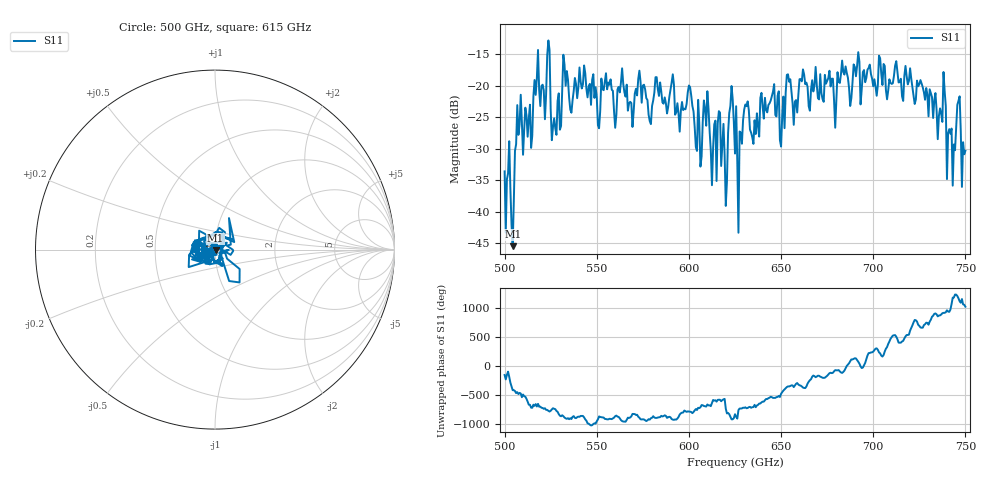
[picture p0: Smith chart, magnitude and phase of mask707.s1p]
!Created with skrf (http://scikit-rf.org).
# GHz S MA R 50.0
!freq magS11 angS11
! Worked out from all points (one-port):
!   401 points, 500 GHz to 750 GHz, reference 50 ohm
!   lowest |S11| = -45.5 dB at 504.4 GHz (marker M1), VSWR 1.01, Z = 50.3 - j0.452 ohm
!   |S11| at or under -10 dB: start of sweep to end of sweep
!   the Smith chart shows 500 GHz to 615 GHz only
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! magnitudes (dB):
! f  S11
! 500 GHz  -33.6
! 504.4 GHz  -45.5
! 507.5 GHz  -27.8
! 513.8 GHz  -23.0
! 516.9 GHz  -21.5
! 523.8 GHz  -12.8
! 526.9 GHz  -25.2
! 531.2 GHz  -20.9
! 562.5 GHz  -21.1
! 579.4 GHz  -26.1
! 590.6 GHz  -19.5
! 593.8 GHz  -22.8
! 600.6 GHz  -20.2
! 605.6 GHz  -26.0
! 609.4 GHz  -26.4
! 619.4 GHz  -31.0
! 622.5 GHz  -23.2
! 625 GHz  -30.8
! 627.5 GHz  -27.3
! 631.2 GHz  -23.3
! 635 GHz  -29.2
! 656.2 GHz  -22.8
! 687.5 GHz  -23.2
! 718.8 GHz  -19.8
! 738.1 GHz  -17.8
! 743.1 GHz  -35.9
! 746.2 GHz  -22.4
! 750 GHz  -30.3
